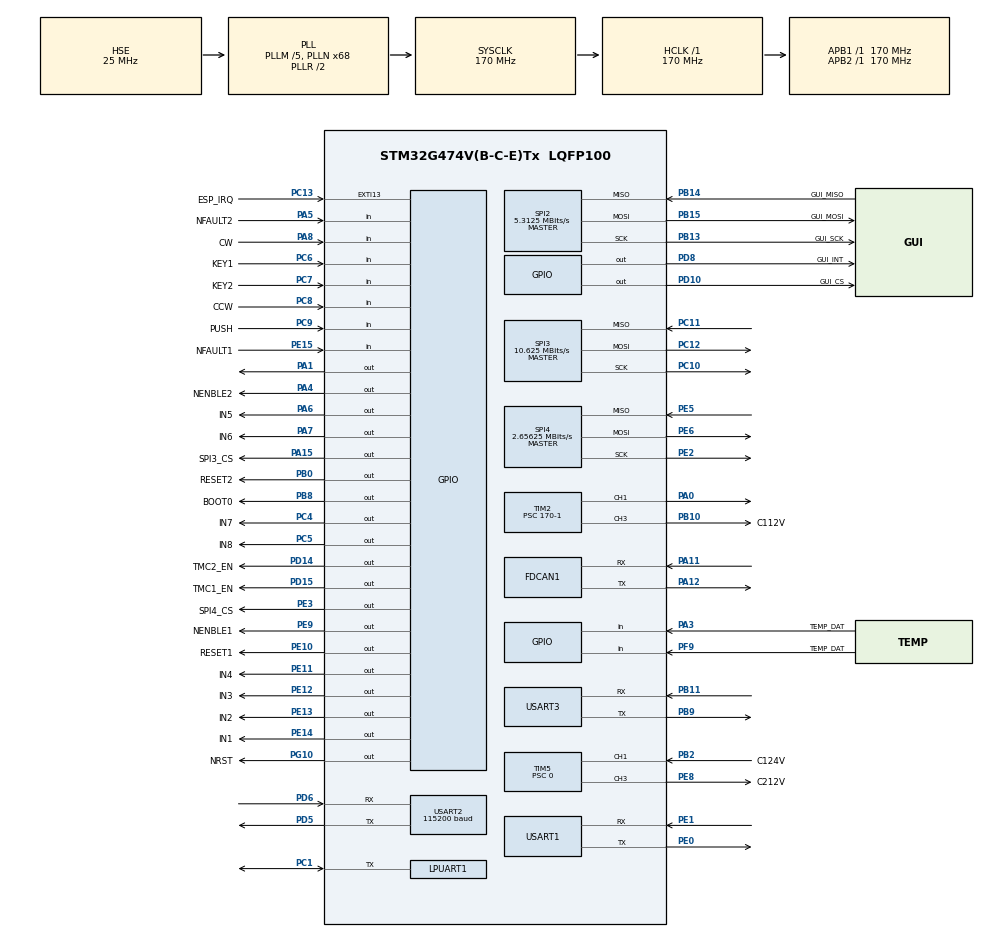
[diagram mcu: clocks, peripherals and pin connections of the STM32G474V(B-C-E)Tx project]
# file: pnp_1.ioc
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Dma.Request0=USART1_TX
Dma.Request1=USART2_RX
Dma.Request2=USART2_TX
Dma.Request3=USART3_TX
Dma.Request4=USART3_RX
Dma.Request5=TIM2_UP
Dma.Request6=USART1_RX
Dma.TIM2_UP.5.Direction=DMA_PERIPH_TO_MEMORY
Dma.TIM2_UP.5.EventEnable=DISABLE
Dma.TIM2_UP.5.Instance=DMA1_Channel6
Dma.TIM2_UP.5.MemDataAlignment=DMA_MDATAALIGN_WORD
Dma.TIM2_UP.5.MemInc=DMA_MINC_ENABLE
Dma.TIM2_UP.5.Mode=DMA_NORMAL
Dma.TIM2_UP.5.PeriphDataAlignment=DMA_PDATAALIGN_WORD
Dma.TIM2_UP.5.PeriphInc=DMA_PINC_DISABLE
Dma.TIM2_UP.5.Polarity=HAL_DMAMUX_REQ_GEN_RISING
Dma.TIM2_UP.5.Priority=DMA_PRIORITY_LOW
Dma.TIM2_UP.5.RequestNumber=1
Dma.TIM2_UP.5.SignalID=NONE
Dma.TIM2_UP.5.SyncEnable=DISABLE
Dma.TIM2_UP.5.SyncPolarity=HAL_DMAMUX_SYNC_NO_EVENT
Dma.TIM2_UP.5.SyncRequestNumber=1
Dma.TIM2_UP.5.SyncSignalID=NONE
Dma.USART1_RX.6.Direction=DMA_PERIPH_TO_MEMORY
Dma.USART1_RX.6.EventEnable=DISABLE
Dma.USART1_RX.6.Instance=DMA1_Channel7
Dma.USART1_RX.6.MemDataAlignment=DMA_MDATAALIGN_BYTE
Dma.USART1_RX.6.MemInc=DMA_MINC_ENABLE
Dma.USART1_RX.6.Mode=DMA_CIRCULAR
Dma.USART1_RX.6.PeriphDataAlignment=DMA_PDATAALIGN_BYTE
Dma.USART1_RX.6.PeriphInc=DMA_PINC_DISABLE
Dma.USART1_RX.6.Polarity=HAL_DMAMUX_REQ_GEN_RISING
Dma.USART1_RX.6.Priority=DMA_PRIORITY_LOW
Dma.USART1_RX.6.RequestNumber=1
Dma.USART1_RX.6.SignalID=NONE
Dma.USART1_RX.6.SyncEnable=DISABLE
Dma.USART1_RX.6.SyncPolarity=HAL_DMAMUX_SYNC_NO_EVENT
Dma.USART1_RX.6.SyncRequestNumber=1
Dma.USART1_RX.6.SyncSignalID=NONE
Dma.USART1_TX.0.Direction=DMA_MEMORY_TO_PERIPH
Dma.USART1_TX.0.EventEnable=DISABLE
Dma.USART1_TX.0.Instance=DMA2_Channel1
Dma.USART1_TX.0.MemDataAlignment=DMA_MDATAALIGN_BYTE
Dma.USART1_TX.0.MemInc=DMA_MINC_ENABLE
Dma.USART1_TX.0.Mode=DMA_NORMAL
Dma.USART1_TX.0.PeriphDataAlignment=DMA_PDATAALIGN_BYTE
Dma.USART1_TX.0.PeriphInc=DMA_PINC_DISABLE
Dma.USART1_TX.0.Polarity=HAL_DMAMUX_REQ_GEN_RISING
Dma.USART1_TX.0.Priority=DMA_PRIORITY_LOW
Dma.USART1_TX.0.RequestNumber=1
Dma.USART1_TX.0.SignalID=NONE
Dma.USART1_TX.0.SyncEnable=DISABLE
Dma.USART1_TX.0.SyncPolarity=HAL_DMAMUX_SYNC_NO_EVENT
Dma.USART1_TX.0.SyncRequestNumber=1
Dma.USART1_TX.0.SyncSignalID=NONE
Dma.USART2_RX.1.Direction=DMA_PERIPH_TO_MEMORY
Dma.USART2_RX.1.EventEnable=DISABLE
Dma.USART2_RX.1.Instance=DMA1_Channel2
Dma.USART2_RX.1.MemDataAlignment=DMA_MDATAALIGN_BYTE
Dma.USART2_RX.1.MemInc=DMA_MINC_ENABLE
Dma.USART2_RX.1.Mode=DMA_NORMAL
Dma.USART2_RX.1.PeriphDataAlignment=DMA_PDATAALIGN_BYTE
Dma.USART2_RX.1.PeriphInc=DMA_PINC_DISABLE
Dma.USART2_RX.1.Polarity=HAL_DMAMUX_REQ_GEN_RISING
Dma.USART2_RX.1.Priority=DMA_PRIORITY_LOW
Dma.USART2_RX.1.RequestNumber=1
Dma.USART2_RX.1.SignalID=NONE
Dma.USART2_RX.1.SyncEnable=DISABLE
Dma.USART2_RX.1.SyncPolarity=HAL_DMAMUX_SYNC_NO_EVENT
Dma.USART2_RX.1.SyncRequestNumber=1
Dma.USART2_RX.1.SyncSignalID=NONE
Dma.USART2_TX.2.Direction=DMA_MEMORY_TO_PERIPH
Dma.USART2_TX.2.EventEnable=DISABLE
Dma.USART2_TX.2.Instance=DMA1_Channel3
Dma.USART2_TX.2.MemDataAlignment=DMA_MDATAALIGN_BYTE
Dma.USART2_TX.2.MemInc=DMA_MINC_ENABLE
Dma.USART2_TX.2.Mode=DMA_NORMAL
Dma.USART2_TX.2.PeriphDataAlignment=DMA_PDATAALIGN_BYTE
Dma.USART2_TX.2.PeriphInc=DMA_PINC_DISABLE
Dma.USART2_TX.2.Polarity=HAL_DMAMUX_REQ_GEN_RISING
Dma.USART2_TX.2.Priority=DMA_PRIORITY_LOW
Dma.USART2_TX.2.RequestNumber=1
Dma.USART2_TX.2.SignalID=NONE
Dma.USART2_TX.2.SyncEnable=DISABLE
Dma.USART2_TX.2.SyncPolarity=HAL_DMAMUX_SYNC_NO_EVENT
Dma.USART2_TX.2.SyncRequestNumber=1
Dma.USART2_TX.2.SyncSignalID=NONE
Dma.USART3_RX.4.Direction=DMA_PERIPH_TO_MEMORY
Dma.USART3_RX.4.EventEnable=DISABLE
Dma.USART3_RX.4.Instance=DMA1_Channel5
Dma.USART3_RX.4.MemDataAlignment=DMA_MDATAALIGN_BYTE
Dma.USART3_RX.4.MemInc=DMA_MINC_ENABLE
Dma.USART3_RX.4.Mode=DMA_NORMAL
Dma.USART3_RX.4.PeriphDataAlignment=DMA_PDATAALIGN_BYTE
Dma.USART3_RX.4.PeriphInc=DMA_PINC_DISABLE
Dma.USART3_RX.4.Polarity=HAL_DMAMUX_REQ_GEN_RISING
Dma.USART3_RX.4.Priority=DMA_PRIORITY_LOW
Dma.USART3_RX.4.RequestNumber=1
Dma.USART3_RX.4.SignalID=NONE
Dma.USART3_RX.4.SyncEnable=DISABLE
Dma.USART3_RX.4.SyncPolarity=HAL_DMAMUX_SYNC_NO_EVENT
Dma.USART3_RX.4.SyncRequestNumber=1
Dma.USART3_RX.4.SyncSignalID=NONE
Dma.USART3_TX.3.Direction=DMA_MEMORY_TO_PERIPH
Dma.USART3_TX.3.EventEnable=DISABLE
Dma.USART3_TX.3.Instance=DMA1_Channel4
Dma.USART3_TX.3.MemDataAlignment=DMA_MDATAALIGN_BYTE
Dma.USART3_TX.3.MemInc=DMA_MINC_ENABLE
Dma.USART3_TX.3.Mode=DMA_NORMAL
Dma.USART3_TX.3.PeriphDataAlignment=DMA_PDATAALIGN_BYTE
Dma.USART3_TX.3.PeriphInc=DMA_PINC_DISABLE
Dma.USART3_TX.3.Polarity=HAL_DMAMUX_REQ_GEN_RISING
Dma.USART3_TX.3.Priority=DMA_PRIORITY_LOW
Dma.USART3_TX.3.RequestNumber=1
Dma.USART3_TX.3.SignalID=NONE
Dma.USART3_TX.3.SyncEnable=DISABLE
Dma.USART3_TX.3.SyncPolarity=HAL_DMAMUX_SYNC_NO_EVENT
Dma.USART3_TX.3.SyncRequestNumber=1
Dma.USART3_TX.3.SyncSignalID=NONE
FDCAN1.AutoRetransmission=ENABLE
FDCAN1.CalculateBaudRateNominal=500000
FDCAN1.CalculateTimeBitNominal=2000
FDCAN1.CalculateTimeQuantumNominal=100.0
FDCAN1.DataPrescaler=4
FDCAN1.DataSyncJumpWidth=10
FDCAN1.NominalPrescaler=17
FDCAN1.NominalSyncJumpWidth=10
FDCAN1.NominalTimeSeg1=15
FDCAN1.NominalTimeSeg2=4
FREERTOS.configENABLE_FPU=1
FREERTOS.configTOTAL_HEAP_SIZE=32768
LPUART1.BaudRate=115200
Mcu.Family=STM32G4
Mcu.Name=STM32G474V(B-C-E)Tx
Mcu.Package=LQFP100
NVIC.DMA1_Channel2_IRQn=true\:5\:0\:false\:false\:true\:true\:false\:true\:true
NVIC.DMA1_Channel3_IRQn=true\:5\:0\:false\:false\:true\:true\:false\:true\:true
NVIC.DMA1_Channel4_IRQn=true\:5\:0\:false\:false\:true\:true\:false\:true\:true
NVIC.DMA1_Channel5_IRQn=true\:5\:0\:false\:false\:true\:true\:false\:true\:true
NVIC.DMA1_Channel6_IRQn=true\:5\:0\:false\:false\:true\:true\:false\:true\:true
NVIC.DMA1_Channel7_IRQn=true\:5\:0\:false\:false\:true\:true\:false\:true\:true
NVIC.DMA2_Channel1_IRQn=true\:5\:0\:false\:false\:true\:false\:false\:true\:true
NVIC.EXTI15_10_IRQn=true\:6\:0\:false\:false\:true\:false\:false\:true\:true
NVIC.FDCAN1_IT0_IRQn=true\:5\:0\:false\:false\:true\:true\:true\:true\:true
NVIC.FDCAN1_IT1_IRQn=true\:6\:0\:true\:false\:true\:true\:true\:true\:true
NVIC.PriorityGroup=NVIC_PRIORITYGROUP_4
NVIC.SPI3_IRQn=true\:5\:0\:false\:false\:true\:true\:true\:true\:true
NVIC.TIM2_IRQn=true\:5\:0\:false\:false\:true\:true\:true\:true\:true
NVIC.TIM5_IRQn=true\:5\:0\:false\:false\:true\:true\:true\:true\:true
NVIC.TIM6_DAC_IRQn=true\:15\:0\:false\:false\:true\:false\:false\:true\:true
NVIC.TimeBase=TIM6_DAC_IRQn
NVIC.TimeBaseIP=TIM6
NVIC.USART1_IRQn=true\:5\:0\:false\:false\:true\:true\:true\:true\:true
NVIC.USART2_IRQn=true\:5\:0\:false\:false\:true\:true\:true\:true\:true
NVIC.USART3_IRQn=true\:5\:0\:false\:false\:true\:true\:true\:true\:true
PA0.GPIO_Speed=GPIO_SPEED_FREQ_HIGH
PA0.Signal=S_TIM2_CH1
PA1.GPIO_Speed=GPIO_SPEED_FREQ_HIGH
PA1.Signal=GPIO_Output
PA11.GPIO_PuPd=GPIO_NOPULL
PA11.GPIO_Speed=GPIO_SPEED_FREQ_HIGH
PA11.Mode=FDCAN_Activate
PA11.Signal=FDCAN1_RX
PA12.GPIO_PuPd=GPIO_PULLUP
PA12.GPIO_Speed=GPIO_SPEED_FREQ_HIGH
PA12.Mode=FDCAN_Activate
PA12.Signal=FDCAN1_TX
PA13.Mode=Serial_Wire
PA13.Signal=SYS_JTMS-SWDIO
PA14.Mode=Serial_Wire
PA14.Signal=SYS_JTCK-SWCLK
PA15.GPIO_Label=SPI3_CS
PA15.Signal=GPIO_Output
PA3.GPIO_Label=TEMP_DAT
PA3.Signal=GPIO_Input
PA4.GPIO_Label=NENBLE2
PA4.Signal=GPIO_Output
PA5.GPIO_Label=NFAULT2
PA5.Signal=GPIO_Input
PA6.GPIO_Label=IN5
PA6.Signal=GPIO_Output
PA7.GPIO_Label=IN6
PA7.Signal=GPIO_Output
PA8.GPIO_Label=CW
PA8.Signal=GPIO_Input
PB0.GPIO_Label=RESET2
PB0.Signal=GPIO_Output
PB1.GPIO_Label=C224V
PB1.Signal=S_TIM3_CH4
PB10.GPIO_Label=C112V
PB10.Signal=S_TIM2_CH3
PB11.Mode=Asynchronous
PB11.Signal=USART3_RX
PB13.GPIO_Label=GUI_SCK
PB13.GPIO_Speed=GPIO_SPEED_FREQ_VERY_HIGH
PB13.Mode=Full_Duplex_Master
PB13.Signal=SPI2_SCK
PB14.GPIO_Label=GUI_MISO
PB14.GPIO_Speed=GPIO_SPEED_FREQ_VERY_HIGH
PB14.Mode=Full_Duplex_Master
PB14.Signal=SPI2_MISO
PB15.GPIO_Label=GUI_MOSI
PB15.GPIO_Speed=GPIO_SPEED_FREQ_VERY_HIGH
PB15.Mode=Full_Duplex_Master
PB15.Signal=SPI2_MOSI
PB2.GPIO_Label=C124V
PB2.Signal=S_TIM5_CH1
PB8-BOOT0.GPIO_Label=BOOT0
PB8-BOOT0.Signal=GPIO_Output
PB9.GPIO_PuPd=GPIO_PULLUP
PB9.GPIO_Speed=GPIO_SPEED_FREQ_HIGH
PB9.Mode=Asynchronous
PB9.Signal=USART3_TX
PC0.Signal=LPUART1_RX
PC1.GPIO_PuPdOD=GPIO_PULLUP
PC1.GPIO_Speed=GPIO_SPEED_FREQ_HIGH
PC1.Mode=Half_duplex(single_wire_mode)
PC1.Signal=LPUART1_TX
PC10.GPIO_Speed=GPIO_SPEED_FREQ_VERY_HIGH
PC10.Mode=Full_Duplex_Master
PC10.Signal=SPI3_SCK
PC11.GPIO_Speed=GPIO_SPEED_FREQ_VERY_HIGH
PC11.Mode=Full_Duplex_Master
PC11.Signal=SPI3_MISO
PC12.GPIO_Speed=GPIO_SPEED_FREQ_VERY_HIGH
PC12.Mode=Full_Duplex_Master
PC12.Signal=SPI3_MOSI
PC13.GPIO_Label=ESP_IRQ
PC13.Signal=GPIO_EXTI13
PC4.GPIO_Label=IN7
PC4.Signal=GPIO_Output
PC5.GPIO_Label=IN8
PC5.Signal=GPIO_Output
PC6.GPIO_Label=KEY1
PC6.GPIO_PuPd=GPIO_PULLUP
PC6.Signal=GPIO_Input
PC7.GPIO_Label=KEY2
PC7.GPIO_PuPd=GPIO_PULLUP
PC7.Signal=GPIO_Input
PC8.GPIO_Label=CCW
PC8.Signal=GPIO_Input
PC9.GPIO_Label=PUSH
PC9.Signal=GPIO_Input
PD10.GPIO_Label=GUI_CS
PD10.GPIO_Speed=GPIO_SPEED_FREQ_HIGH
PD10.Signal=GPIO_Output
PD14.GPIO_Label=TMC2_EN
PD14.Signal=GPIO_Output
PD15.GPIO_Label=TMC1_EN
PD15.Signal=GPIO_Output
PD5.GPIO_Speed=GPIO_SPEED_FREQ_VERY_HIGH
PD5.Mode=Asynchronous
PD5.Signal=USART2_TX
PD6.GPIO_Speed=GPIO_SPEED_FREQ_VERY_HIGH
PD6.Mode=Asynchronous
PD6.Signal=USART2_RX
PD8.GPIO_Label=GUI_INT
PD8.GPIO_Speed=GPIO_SPEED_FREQ_HIGH
PD8.PinState=GPIO_PIN_SET
PD8.Signal=GPIO_Output
PE0.GPIO_ModeDefaultPP=GPIO_MODE_AF_PP
PE0.GPIO_PuPd=GPIO_NOPULL
PE0.GPIO_Speed=GPIO_SPEED_FREQ_VERY_HIGH
PE0.Mode=Asynchronous
PE0.Signal=USART1_TX
PE1.GPIO_Speed=GPIO_SPEED_FREQ_VERY_HIGH
PE1.Mode=Asynchronous
PE1.Signal=USART1_RX
PE10.GPIO_Label=RESET1
PE10.Signal=GPIO_Output
PE11.GPIO_Label=IN4
PE11.Signal=GPIO_Output
PE12.GPIO_Label=IN3
PE12.Signal=GPIO_Output
PE13.GPIO_Label=IN2
PE13.Signal=GPIO_Output
PE14.GPIO_Label=IN1
PE14.Signal=GPIO_Output
PE15.GPIO_Label=NFAULT1
PE15.Signal=GPIO_Input
PE2.GPIO_Speed=GPIO_SPEED_FREQ_VERY_HIGH
PE2.Mode=Full_Duplex_Master
PE2.Signal=SPI4_SCK
PE3.GPIO_Label=SPI4_CS
PE3.Signal=GPIO_Output
PE5.GPIO_Speed=GPIO_SPEED_FREQ_VERY_HIGH
PE5.Mode=Full_Duplex_Master
PE5.Signal=SPI4_MISO
PE6.GPIO_Speed=GPIO_SPEED_FREQ_VERY_HIGH
PE6.Mode=Full_Duplex_Master
PE6.Signal=SPI4_MOSI
PE8.GPIO_Label=C212V
PE8.Signal=S_TIM5_CH3
PE9.GPIO_Label=NENBLE1
PE9.Signal=GPIO_Output
PF0-OSC_IN.Mode=HSE-External-Oscillator
PF0-OSC_IN.Signal=RCC_OSC_IN
PF1-OSC_OUT.Mode=HSE-External-Oscillator
PF1-OSC_OUT.Signal=RCC_OSC_OUT
PF9.GPIO_Label=TEMP_DAT
PF9.Signal=GPIO_Input
PG10-NRST.GPIO_Label=NRST
PG10-NRST.Signal=GPIO_Output
ProjectManager.HeapSize=0x2000
ProjectManager.StackSize=0x2000
ProjectManager.TargetToolchain=MDK-ARM V5.32
RCC.ADC12Freq_Value=170000000
RCC.ADC345Freq_Value=170000000
RCC.AHBFreq_Value=170000000
RCC.APB1Freq_Value=170000000
RCC.APB1TimFreq_Value=170000000
RCC.APB2Freq_Value=170000000
RCC.APB2TimFreq_Value=170000000
RCC.CortexFreq_Value=170000000
RCC.EXTERNAL_CLOCK_VALUE=12288000
RCC.FDCANCLockSelection=RCC_FDCANCLKSOURCE_PLL
RCC.HCLKFreq_Value=170000000
RCC.HSE_VALUE=25000000
RCC.HSI48_VALUE=48000000
RCC.HSI_VALUE=16000000
RCC.LSE_VALUE=32768
RCC.PLLM=RCC_PLLM_DIV5
RCC.PLLN=68
RCC.PLLSourceVirtual=RCC_PLLSOURCE_HSE
RCC.SYSCLKFreq_VALUE=170000000
RCC.SYSCLKSource=RCC_SYSCLKSOURCE_PLLCLK
RCC.USBFreq_Value=170000000
RCC.VCOOutputFreq_Value=340000000
SH.S_TIM2_CH1.0=TIM2_CH1,PWM Generation1 CH1
SH.S_TIM2_CH3.0=TIM2_CH3,PWM Generation3 CH3
SH.S_TIM3_CH4.0=TIM3_CH4
SH.S_TIM5_CH1.0=TIM5_CH1,Input_Capture1_from_TI1
SH.S_TIM5_CH3.0=TIM5_CH3,PWM Generation3 CH3
SPI2.BaudRatePrescaler=SPI_BAUDRATEPRESCALER_32
SPI2.CalculateBaudRate=5.3125 MBits/s
SPI2.DataSize=SPI_DATASIZE_8BIT
SPI2.Direction=SPI_DIRECTION_2LINES
SPI2.Mode=SPI_MODE_MASTER
SPI2.VirtualType=VM_MASTER
SPI3.BaudRatePrescaler=SPI_BAUDRATEPRESCALER_16
SPI3.CalculateBaudRate=10.625 MBits/s
SPI3.DataSize=SPI_DATASIZE_8BIT
SPI3.Direction=SPI_DIRECTION_2LINES
SPI3.Mode=SPI_MODE_MASTER
SPI3.VirtualType=VM_MASTER
SPI4.BaudRatePrescaler=SPI_BAUDRATEPRESCALER_64
SPI4.CalculateBaudRate=2.65625 MBits/s
SPI4.DataSize=SPI_DATASIZE_8BIT
SPI4.Direction=SPI_DIRECTION_2LINES
SPI4.Mode=SPI_MODE_MASTER
SPI4.VirtualType=VM_MASTER
TIM2.Channel-PWM\ Generation1\ CH1=TIM_CHANNEL_1
TIM2.Channel-PWM\ Generation3\ CH3=TIM_CHANNEL_3
TIM2.PeriodNoDither=19999
TIM2.Prescaler=170-1
TIM2.PulseNoDither_1=214483647
TIM2.PulseNoDither_3=1500
TIM5.AutoReloadPreload=TIM_AUTORELOAD_PRELOAD_ENABLE
TIM5.Channel-Input_Capture1_from_TI1=TIM_CHANNEL_1
TIM5.Channel-PWM\ Generation3\ CH3=TIM_CHANNEL_3
TIM5.ICPolarity_CH1=TIM_INPUTCHANNELPOLARITY_BOTHEDGE
TIM5.PeriodNoDither=3399999
TIM5.Prescaler=0
TIM5.PulseNoDither_3=1500
USART1.FIFOMode=FIFOMODE_ENABLE
USART1.VirtualMode-Asynchronous=VM_ASYNC
USART2.BaudRate=115200
USART2.FIFOMode=FIFOMODE_ENABLE
USART2.OverSampling=UART_OVERSAMPLING_8
USART2.VirtualMode-Asynchronous=VM_ASYNC
USART3.VirtualMode-Asynchronous=VM_ASYNC
VP_CRC_VS_CRC.Mode=CRC_Activate
VP_FREERTOS_VS_CMSIS_V2.Mode=CMSIS_V2
VP_SYS_VS_DBSignals.Mode=DisableDeadBatterySignals
VP_SYS_VS_tim6.Mode=TIM6
VP_TIM2_VS_ClockSourceINT.Mode=Internal
VP_TIM5_VS_ClockSourceINT.Mode=Internal
board=custom

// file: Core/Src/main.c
/* USER CODE BEGIN Header */
/**
  ******************************************************************************
  * @file           : main.c
  * @brief          : Main program body
  ******************************************************************************
  * @attention
  *
  * Copyright (c) 2026 STMicroelectronics.
  * All rights reserved.
  *
  * This software is licensed under terms that can be found in the LICENSE file
  * in the root directory of this software component.
  * If no LICENSE file comes with this software, it is provided AS-IS.
  *
  ******************************************************************************
  */
/* USER CODE END Header */
#include "main.h"
#include "cmsis_os.h"
#include "crc.h"
#include "dma.h"
#include "fdcan.h"
#include "usart.h"
#include "spi.h"
#include "tim.h"
#include "gpio.h"

/* USER CODE BEGIN Includes */
#include "timestamp.h"
#include <stdbool.h>
#include "driver_can.h"
#include "driver_uart.h"
#include "driver_servo.h"
#include "driver_motor.h"
#include "app_gui_spi.h"
/* USER CODE END Includes */

/* USER CODE BEGIN PD */
bool init_finished = false;

/* USER CODE END PD */

void SystemClock_Config(void);
void MX_FREERTOS_Init(void);
/* USER CODE BEGIN PFP */
void MX_GPIO_Init(void);
void MX_DMA_Init(void);
void MX_SPI2_Init(void);
void MX_CRC_Init(void);
/* USER CODE END PFP */

int main(void)
{

  /* USER CODE BEGIN 1 */
	uint8_t tsetbuf[8];
  /* USER CODE END 1 */

  /* MCU Configuration--------------------------------------------------------*/

  /* Reset of all peripherals, Initializes the Flash interface and the Systick. */
  HAL_Init();

  /* USER CODE BEGIN Init */
	tsetbuf[1] = 0x16;
  /* USER CODE END Init */

  /* Configure the system clock */
  SystemClock_Config();

  /* Initialize all configured peripherals */
  MX_GPIO_Init();
  MX_DMA_Init();
  MX_USART1_UART_Init();
  MX_LPUART1_UART_Init();
  MX_USART2_UART_Init();
  MX_USART3_UART_Init();
  MX_SPI2_Init();
  MX_SPI3_Init();
  MX_SPI4_Init();
  MX_TIM2_Init();
  MX_CRC_Init();
  MX_FDCAN1_Init();
  MX_TIM5_Init();
  /* USER CODE BEGIN 2 */

  GUI_SPI_Init();
  init_finished = true;
	Servo_Init(&htim5);
	// Motor_Init �������������е��ã�CAN ������
  /* USER CODE END 2 */

  /* Init scheduler */
  osKernelInitialize();  /* Call init function for freertos objects (in cmsis_os2.c) */
  MX_FREERTOS_Init();

  /* Start scheduler */
  osKernelStart();

  /* We should never get here as control is now taken by the scheduler */

  /* Infinite loop */
  while (1)
  {

  }
}

void SystemClock_Config(void)
{
  RCC_OscInitTypeDef RCC_OscInitStruct = {0};
  RCC_ClkInitTypeDef RCC_ClkInitStruct = {0};

  /** Configure the main internal regulator output voltage
  */
  HAL_PWREx_ControlVoltageScaling(PWR_REGULATOR_VOLTAGE_SCALE1_BOOST);

  /** Initializes the RCC Oscillators according to the specified parameters
  * in the RCC_OscInitTypeDef structure.
  */
  RCC_OscInitStruct.OscillatorType = RCC_OSCILLATORTYPE_HSE;
  RCC_OscInitStruct.HSEState = RCC_HSE_ON;
  RCC_OscInitStruct.PLL.PLLState = RCC_PLL_ON;
  RCC_OscInitStruct.PLL.PLLSource = RCC_PLLSOURCE_HSE;
  RCC_OscInitStruct.PLL.PLLM = RCC_PLLM_DIV5;
  RCC_OscInitStruct.PLL.PLLN = 68;
  RCC_OscInitStruct.PLL.PLLP = RCC_PLLP_DIV2;
  RCC_OscInitStruct.PLL.PLLQ = RCC_PLLQ_DIV2;
  RCC_OscInitStruct.PLL.PLLR = RCC_PLLR_DIV2;
  if (HAL_RCC_OscConfig(&RCC_OscInitStruct) != HAL_OK)
  {
    Error_Handler();
  }

  /** Initializes the CPU, AHB and APB buses clocks
  */
  RCC_ClkInitStruct.ClockType = RCC_CLOCKTYPE_HCLK|RCC_CLOCKTYPE_SYSCLK
                              |RCC_CLOCKTYPE_PCLK1|RCC_CLOCKTYPE_PCLK2;
  RCC_ClkInitStruct.SYSCLKSource = RCC_SYSCLKSOURCE_PLLCLK;
  RCC_ClkInitStruct.AHBCLKDivider = RCC_SYSCLK_DIV1;
  RCC_ClkInitStruct.APB1CLKDivider = RCC_HCLK_DIV1;
  RCC_ClkInitStruct.APB2CLKDivider = RCC_HCLK_DIV1;

  if (HAL_RCC_ClockConfig(&RCC_ClkInitStruct, FLASH_LATENCY_4) != HAL_OK)
  {
    Error_Handler();
  }
}

void HAL_TIM_PeriodElapsedCallback(TIM_HandleTypeDef *htim)
{
  /* USER CODE BEGIN Callback 0 */
    if (htim->Instance == TIM2) {
        // ÿ���������������?
        overflow_count++;
    }

  /* USER CODE END Callback 0 */
  if (htim->Instance == TIM6)
  {
    HAL_IncTick();
  }
}

void Error_Handler(void)
{
  __disable_irq();
  while (1)
  {
  }
}

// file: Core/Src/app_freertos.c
/* USER CODE BEGIN Header */
/**
  ******************************************************************************
  * File Name          : app_freertos.c
  * Description        : Code for freertos applications
  ******************************************************************************
  * @attention
  *
  * Copyright (c) 2026 STMicroelectronics.
  * All rights reserved.
  *
  * This software is licensed under terms that can be found in the LICENSE file
  * in the root directory of this software component.
  * If no LICENSE file comes with this software, it is provided AS-IS.
  *
  ******************************************************************************
  */
/* USER CODE END Header */

#include "FreeRTOS.h"
#include "task.h"
#include "main.h"
#include "cmsis_os.h"

/* USER CODE BEGIN Includes */
#include "app_esp_task.h"
#include "driver_can.h"
#include "app_motion.h"
#include "app_test.h"
#include "driver_tmc2209.h"
#include "tmc_protocol.h"
#include "driver_drv8803.h"
#include "app_vision.h"
#include "app_host.h"
#include "app_gui_spi.h"
/* USER CODE END Includes */

/* USER CODE BEGIN PTD */
osMessageQueueId_t motor_event_queue;
osMessageQueueId_t motion_cmd_queue;
extern osMessageQueueId_t gui_cmd_queue;
osMutexId_t g_debug_mutex = NULL;
osMessageQueueId_t esp_cmd_queue;
osMessageQueueId_t esp_log_queue;
osMessageQueueId_t esp_web_cmd_queue;
osMessageQueueId_t esp_wifi_cfg_queue;
osMessageQueueId_t esp_csv_import_queue;
extern osMessageQueueId_t gui_log_queue;
osMutexId_t esp_spi_mutex;
osMutexId_t w25q64_mutex;
osMessageQueueId_t host_pkt_queue;
/* USER CODE END PTD */

/* USER CODE BEGIN Variables */
osThreadId_t PnPMotionTaskHandle;
osThreadId_t motorTestTaskHandle;
osThreadId_t drv8803TestTaskHandle;
osThreadId_t servoTestTaskHandle;
osThreadId_t mksHandle;
osThreadId_t hostMotionTaskHandle;
osThreadId_t pickPlaceTestTaskHandle;

const osThreadAttr_t PnP_Motion_Task_attributes = {
  .name = "PnPMotion",
  .stack_size = 256 * 4,
  .priority = (osPriority_t)osPriorityNormal,
};

const osThreadAttr_t motorTestTask_attributes = {
  .name = "MotorTest",
  .stack_size = 512,
  .priority = (osPriority_t) osPriorityNormal,
};

const osThreadAttr_t drv8803TestTask_attributes = {
  .name = "DRV8803_Test",
  .stack_size = 1024,
  .priority = osPriorityNormal
};

const osThreadAttr_t servoTestTask_attributes = {
    .name = "ServoTest",
    .stack_size = 514,
    .priority = osPriorityNormal,
};

const osThreadAttr_t MKSTestTask_attributes = {
    .name = "MKSTest",
    .stack_size = 1024,                // MKS motor
    .priority = osPriorityNormal,
};

const osThreadAttr_t hostTask_attributes = {
    .name = "HostComm",
    .stack_size = 4096,
    .priority = osPriorityNormal
};

const osThreadAttr_t canProcTask_attr = {
    .name = "CAN_Proc",
    .stack_size = 512,
    .priority = osPriorityNormal
};

const osThreadAttr_t hostTestTask_attributes = {
    .name = "HostTest",
    .stack_size = 512,
    .priority = osPriorityNormal
};

const osThreadAttr_t hostMotionTestTask_attributes = {
    .name = "HostMotion",
    .stack_size = 2048,
    .priority = osPriorityNormal
};

const osThreadAttr_t pickPlaceTestTask_attributes = {
    .name = "PickPlace",
    .stack_size = 2048,
    .priority = osPriorityNormal,
};

const osThreadAttr_t espTask_attributes = {
    .name = "ESP32",
    .stack_size = 4096,
    .priority = osPriorityNormal,
};

const osThreadAttr_t camTestTask_attributes = {
    .name = "CamTest",
    .stack_size = 4096,
    .priority = osPriorityNormal,
};

/* USER CODE END Variables */
/* Definitions for GUI_SPI */
osThreadId_t guiSpiHandle;
const osThreadAttr_t guiSpi_attributes = {
  .name = "guiSpi",
  .priority = (osPriority_t) osPriorityNormal,
  .stack_size = 4096
};

/* USER CODE BEGIN FunctionPrototypes */
void StartUartTestTask(void *argument);
void StartMotorTestTask(void *argument);
void PnP_Motion_Task(void *argument);
void StartDrv8803TestTask(void *argument);
void StartServoTestTask(void *argument);
void vMotorTestTask(void *pvParameters) ;
void CAN_Process_Task(void *argument);
void Host_Task(void *argument);
void StartHostCommTestTask(void *argument);
void StartHostMotionTestTask(void *argument);
void ESP_Task(void *argument);
/* USER CODE END FunctionPrototypes */

void GUI_SPI_Task(void *argument);

void MX_FREERTOS_Init(void); /* (MISRA C 2004 rule 8.1) */

void MX_FREERTOS_Init(void) {
  /* USER CODE BEGIN Init */
	UART_Driver_Init();
	Event_Init();
	TMC_SetEnable(false);  /* ENN=HIGH, 关闭TMC2209驱动 */
  /* USER CODE END Init */

  /* USER CODE BEGIN RTOS_MUTEX */
  g_debug_mutex = osMutexNew(NULL);
  esp_spi_mutex = osMutexNew(NULL);
  w25q64_mutex = osMutexNew(NULL);
  /* add mutexes, ... */
  /* USER CODE END RTOS_MUTEX */

  /* USER CODE BEGIN RTOS_QUEUES */

	motor_event_queue = osMessageQueueNew(32, sizeof(CAN_Rx_Packet_t), NULL);
	motion_cmd_queue = osMessageQueueNew(20, sizeof(MotionCmd_t), NULL);
	gui_cmd_queue = osMessageQueueNew(16, sizeof(HostParsed_t), NULL);
	gui_log_queue = osMessageQueueNew(32, sizeof(GUI_LogMsg_t), NULL);
	gui_spi_mutex = osMutexNew(NULL);
	host_pkt_queue = osMessageQueueNew(64, sizeof(HostMsg_t), NULL);
	esp_cmd_queue = osMessageQueueNew(8, sizeof(ESP_Cmd_t), NULL);
	esp_web_cmd_queue = osMessageQueueNew(8, sizeof(ESP_Cmd_t), NULL);
	esp_log_queue = osMessageQueueNew(32, sizeof(ESP_LogMsg_t), NULL);
	esp_wifi_cfg_queue = osMessageQueueNew(2, sizeof(ESP_WifiCfgMsg_t), NULL);
	esp_csv_import_queue = osMessageQueueNew(2, sizeof(uint32_t), NULL);

  /* USER CODE END RTOS_QUEUES */

  /* Create the thread(s) */
  /* creation of guiSpi */
  guiSpiHandle = osThreadNew(GUI_SPI_Task, NULL, &guiSpi_attributes);

  /* USER CODE BEGIN RTOS_THREADS */
  /* add threads, ... */
	TaskHandle_t UartTestTaskHandle = NULL;
//	xTaskCreate(StartUartTestTask, "UartTest", 256, NULL, tskIDLE_PRIORITY + 2, &UartTestTaskHandle);

//	osThreadNew(PnP_Motion_Task, NULL, &PnP_Motion_Task_attributes);

//	drv8803TestTaskHandle = osThreadNew(StartDrv8803TestTask, NULL, &drv8803TestTask_attributes);

//	motorTestTaskHandle = osThreadNew(StartMotorTestTask, NULL, &motorTestTask_attributes);  //2209

//  servoTestTaskHandle = osThreadNew(StartServoTestTask, NULL, &servoTestTask_attributes);

	osThreadNew(CAN_Process_Task, NULL, &canProcTask_attr);

	osThreadNew(Host_Task, NULL, &hostTask_attributes);
//	osThreadNew(StartCamTestTask, NULL, &camTestTask_attributes); //cam

//    mksHandle = osThreadNew(vMotorTestTask, NULL, &MKSTestTask_attributes);

//    hostMotionTaskHandle = osThreadNew(StartHostMotionTestTask, NULL, &hostMotionTestTask_attributes);

  osThreadNew(ESP_Task, NULL, &espTask_attributes);
//	osThreadNew(StartESPTestTask, NULL, &espTestTask_attributes);
//  pickPlaceTestTaskHandle = osThreadNew(StartPickPlaceTestTask, NULL, &pickPlaceTestTask_attributes);

  /* USER CODE END RTOS_THREADS */

}
